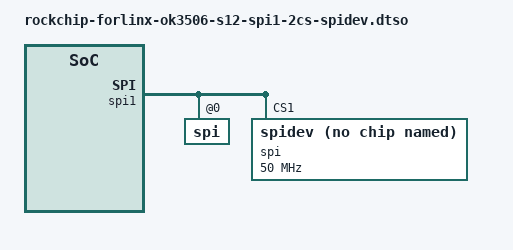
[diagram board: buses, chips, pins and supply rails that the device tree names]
// SPDX-License-Identifier: (GPL-2.0+ OR MIT)
/*
 * Enable spidev on SPI1 with standard RM_IO pinmux:
 * MOSI = RM_IO9, MISO = RM_IO10, CLK = RM_IO8, CS0 = RM_IO14, CS1 = RM_IO7
 * Compatible with Raspberry Pi 'spi1-2cs' hats
 */

/dts-v1/;
/plugin/;

/ {
	metadata {
		title = "Enable SPI1 spidev on forlinx-ok3506-s12 with two chipselects";
		compatible = "forlinx,ok3506";
		category = "spi";
		exclusive = "spi1", "RM_IO7", "RM_IO8", "RM_IO9", "RM_IO10", "RM_IO14";
		description = "Enable SPI1 spidev using RM_IO9(MOSI), RM_IO10(MISO), RM_IO8(CLK), RM_IO14(CS0), RM_IO7(CS1).";
	};
};

&spi1 {
	status = "okay";
	num-cs = <2>;

	spi@0 {
		status = "okay";
	};

	spi@1 {
		compatible = "rockchip,spidev";
		reg = <1>;
		spi-max-frequency = <50000000>;
		status = "okay";
	};
};
